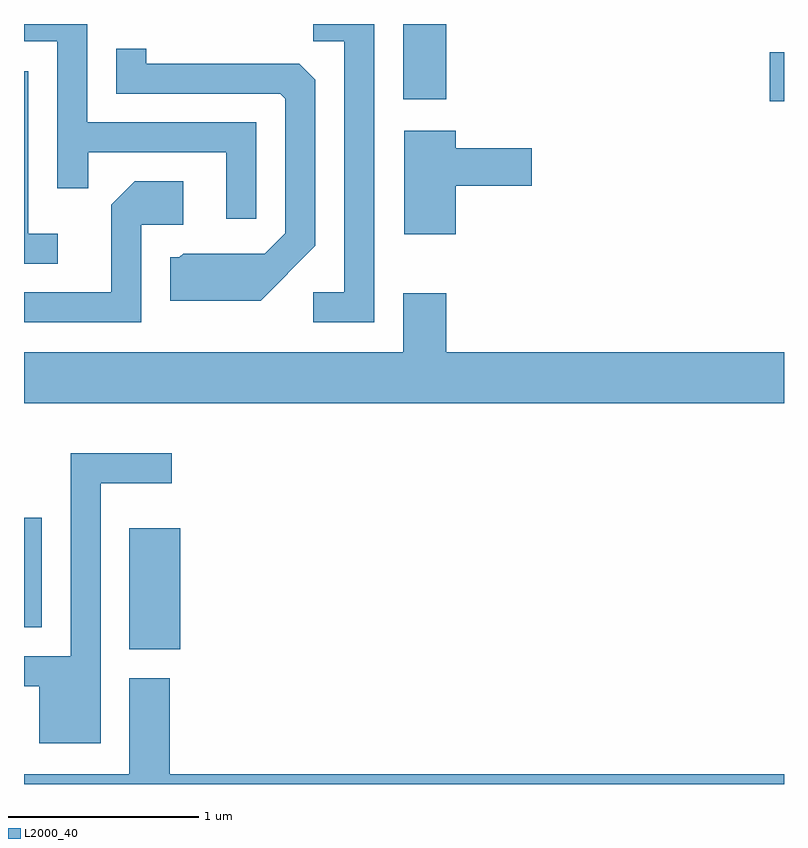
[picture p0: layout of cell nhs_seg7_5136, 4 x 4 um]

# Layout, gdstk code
import gdstk
lib = gdstk.Library(unit=1e-6, precision=1e-09)
def R(c, l, rs):  # rectangles x0, y0, x1, y1
    for r in rs: c.add(gdstk.rectangle(r[:2], r[2:], *l))
def P(c, l, *ps):  # polygons
    for p in ps: c.add(gdstk.Polygon(p, *l))
L2000_40 = (2000, 40)

nhs_seg7_5136 = lib.new_cell('nhs_seg7_5136')
R(nhs_seg7_5136, L2000_40, [(342.166,1772.961,342.434,1773.599), (341.611,1773.076,341.704,1773.654), (345.536,1775.846,345.611,1776.104), (343.606,1775.856,343.834,1776.252)])
P(nhs_seg7_5136, L2000_40, [(343.454,1776.252),(343.133,1776.252),(343.133,1776.161),(343.296,1776.161),(343.296,1774.839),(343.133,1774.839),(343.133,1774.681),(343.454,1774.681)],
  [(342.834,1775.734),(341.944,1775.734),(341.944,1776.252),(341.611,1776.252),(341.611,1776.161),(341.786,1776.161),(341.786,1775.388),(341.949,1775.388),(341.949,1775.576),(342.676,1775.576),(342.676,1775.228),(342.834,1775.228)],
  [(343.144,1775.084),(343.144,1775.959),(343.059,1776.044),(342.254,1776.044),(342.254,1776.123),(342.096,1776.123),(342.096,1775.886),(342.959,1775.886),(342.986,1775.859),(342.986,1775.152),(342.879,1775.044),(342.449,1775.044),(342.429,1775.024),(342.381,1775.024),(342.381,1774.796),(342.857,1774.796)],
  [(341.788,1775.149),(341.634,1775.149),(341.634,1776.004),(341.611,1776.004),(341.611,1774.991),(341.788,1774.991)],
  [(343.884,1775.401),(344.284,1775.401),(344.284,1775.599),(343.884,1775.599),(343.884,1775.689),(343.611,1775.689),(343.611,1775.146),(343.884,1775.146)],
  [(342.229,1775.196),(342.449,1775.196),(342.449,1775.424),(342.194,1775.424),(342.071,1775.302),(342.071,1774.839),(341.611,1774.839),(341.611,1774.681),(342.229,1774.681)],
  [(345.611,1774.524),(343.834,1774.524),(343.834,1774.834),(343.606,1774.834),(343.606,1774.524),(341.611,1774.524),(341.611,1774.256),(345.611,1774.256)],
  [(342.014,1773.836),(342.388,1773.836),(342.388,1773.994),(341.856,1773.994),(341.856,1772.924),(341.611,1772.924),(341.611,1772.766),(341.691,1772.766),(341.691,1772.466),(342.014,1772.466)],
  [(345.611,1772.304),(342.379,1772.304),(342.379,1772.809),(342.166,1772.809),(342.166,1772.304),(341.611,1772.304),(341.611,1772.252),(345.611,1772.252)])

lib.write_gds('nhs_seg7_5136.gds')
